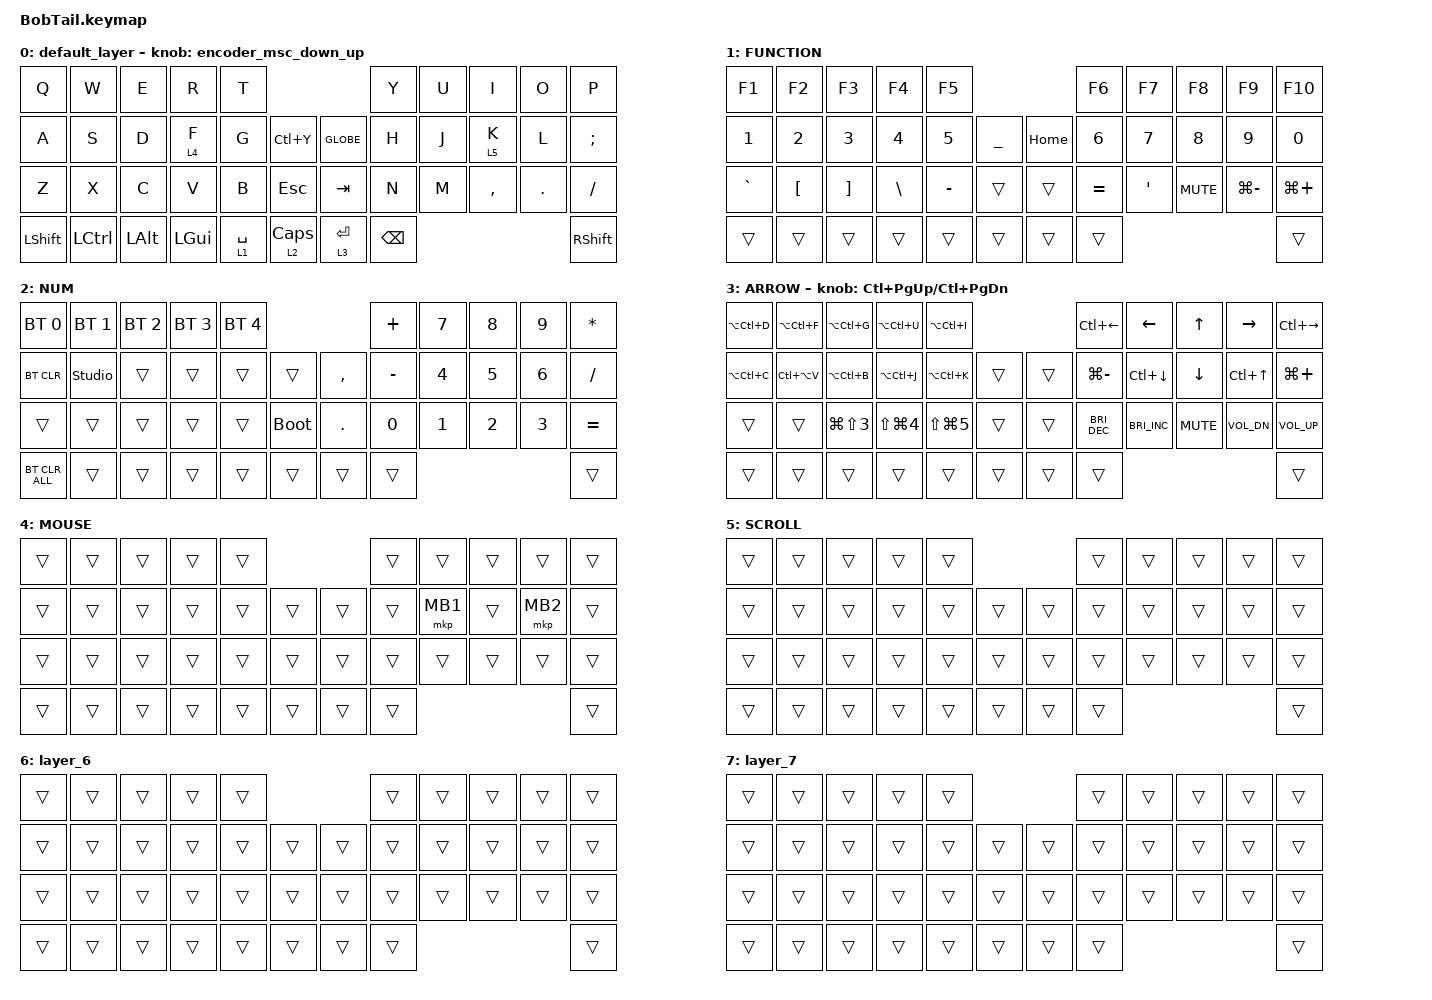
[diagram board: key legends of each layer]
#include <behaviors.dtsi>
#include <dt-bindings/zmk/bt.h>
#include <dt-bindings/zmk/keys.h>
#include <dt-bindings/zmk/pointing.h>

#define MOUSE 4
#define SCROLL 5
#define NUM 6
#define ZMK_POINTING_DEFAULT_SCRL_VAL 80

&mt {
    flavor = "balanced";
    quick-tap-ms = <0>;
};

/ {
    combos {
        compatible = "zmk,combos";

        shift_tab {
            bindings = <&kp LANG2>;
            key-positions = <12 13>;
        };

        lang {
            bindings = <&kp LANG1>;
            key-positions = <18 19>;
        };
    };

    behaviors {
        encoder_msc_down_up: encoder_msc_down_up {
            compatible = "zmk,behavior-sensor-rotate";
            label = "ENCODER_MSC_DOWN_UP";
            #sensor-binding-cells = <0>;
            bindings = <&msc SCRL_UP>, <&msc SCRL_DOWN>;

            tap-ms = <20>;
        };
    };

    keymap {
        compatible = "zmk,keymap";

        default_layer {
            bindings = <
&kp Q           &kp W             &kp E         &kp R         &kp T                                      &kp Y          &kp U  &kp I      &kp O    &kp P
&kp A           &kp S             &kp D         &lt 4 F       &kp G        &kp LC(Y)       &kp GLOBE     &kp H          &kp J  &lt 5 K    &kp L    &kp SEMICOLON
&kp Z           &kp X             &kp C         &kp V         &kp B        &kp ESCAPE      &kp TAB       &kp N          &kp M  &kp COMMA  &kp DOT  &kp SLASH
&kp LEFT_SHIFT  &kp LEFT_CONTROL  &kp LEFT_ALT  &kp LEFT_GUI  &lt 1 SPACE  &lt 2 CLCK      &lt 3 RETURN  &kp BACKSPACE                             &kp RIGHT_SHIFT
            >;

            sensor-bindings = <&encoder_msc_down_up>;
        };

        FUNCTION {
            bindings = <
&kp F1        &kp F2    &kp F3    &kp F4    &kp F5                              &kp F6     &kp F7    &kp F8      &kp F9         &kp F10
&kp NUMBER_1  &kp N2    &kp N3    &kp N4    &kp N5     &kp UNDER      &kp HOME  &kp N6     &kp N7    &kp N8      &kp N9         &kp N0
&kp GRAVE     &kp LBKT  &kp RBKT  &kp BSLH  &kp MINUS  &trans         &trans    &kp EQUAL  &kp APOS  &kp C_MUTE  &kp LG(MINUS)  &kp LG(PLUS)
&trans        &trans    &trans    &trans    &trans     &trans         &trans    &trans                                          &trans
            >;
        };

        NUM {
            bindings = <
&bt BT_SEL 0    &bt BT_SEL 1    &bt BT_SEL 2  &bt BT_SEL 3  &bt BT_SEL 4                              &kp PLUS   &kp N7  &kp N8  &kp N9  &kp ASTRK
&bt BT_CLR      &studio_unlock  &trans        &trans        &trans        &trans           &kp COMMA  &kp MINUS  &kp N4  &kp N5  &kp N6  &kp FSLH
&trans          &trans          &trans        &trans        &trans        &bootloader      &kp DOT    &kp N0     &kp N1  &kp N2  &kp N3  &kp EQUAL
&bt BT_CLR_ALL  &trans          &trans        &trans        &trans        &trans           &trans     &trans                             &trans
            >;
        };

        ARROW {
            bindings = <
&kp LA(LC(D))  &kp LA(LC(F))  &kp LA(LC(G))   &kp LA(LC(U))         &kp LA(LC(I))                             &kp LC(LEFT_ARROW)    &kp LEFT_ARROW        &kp UP_ARROW    &kp RIGHT         &kp LC(RIGHT)
&kp LA(LC(C))  &kp LC(LA(V))  &kp LA(LC(B))   &kp LA(LC(J))         &kp LA(LC(K))         &trans      &trans  &kp LG(MINUS)         &kp LC(DOWN)          &kp DOWN_ARROW  &kp LC(UP_ARROW)  &kp LG(PLUS)
&trans         &trans         &kp LG(LS(N3))  &kp LS(LG(NUMBER_4))  &kp LS(LG(NUMBER_5))  &trans      &trans  &kp C_BRIGHTNESS_DEC  &kp C_BRIGHTNESS_INC  &kp K_MUTE      &kp C_VOL_DN      &kp C_VOLUME_UP
&trans         &trans         &trans          &trans                &trans                &trans      &trans  &trans                                                                        &trans
            >;

            sensor-bindings = <&inc_dec_kp LC(PAGE_UP) LC(PAGE_DOWN)>;
        };

        MOUSE {
            bindings = <
&trans  &trans  &trans  &trans  &trans                      &trans  &trans    &trans  &trans    &trans
&trans  &trans  &trans  &trans  &trans  &trans      &trans  &trans  &mkp MB1  &trans  &mkp MB2  &trans
&trans  &trans  &trans  &trans  &trans  &trans      &trans  &trans  &trans    &trans  &trans    &trans
&trans  &trans  &trans  &trans  &trans  &trans      &trans  &trans                              &trans
            >;
        };

        SCROLL {
            bindings = <
&trans  &trans  &trans  &trans  &trans                      &trans  &trans  &trans  &trans  &trans
&trans  &trans  &trans  &trans  &trans  &trans      &trans  &trans  &trans  &trans  &trans  &trans
&trans  &trans  &trans  &trans  &trans  &trans      &trans  &trans  &trans  &trans  &trans  &trans
&trans  &trans  &trans  &trans  &trans  &trans      &trans  &trans                          &trans
            >;
        };

        layer_6 {
            bindings = <
&trans  &trans  &trans  &trans  &trans                      &trans  &trans  &trans  &trans  &trans
&trans  &trans  &trans  &trans  &trans  &trans      &trans  &trans  &trans  &trans  &trans  &trans
&trans  &trans  &trans  &trans  &trans  &trans      &trans  &trans  &trans  &trans  &trans  &trans
&trans  &trans  &trans  &trans  &trans  &trans      &trans  &trans                          &trans
            >;
        };

        layer_7 {
            bindings = <
&trans  &trans  &trans  &trans  &trans                      &trans  &trans  &trans  &trans  &trans
&trans  &trans  &trans  &trans  &trans  &trans      &trans  &trans  &trans  &trans  &trans  &trans
&trans  &trans  &trans  &trans  &trans  &trans      &trans  &trans  &trans  &trans  &trans  &trans
&trans  &trans  &trans  &trans  &trans  &trans      &trans  &trans                          &trans
            >;
        };
    };
};
